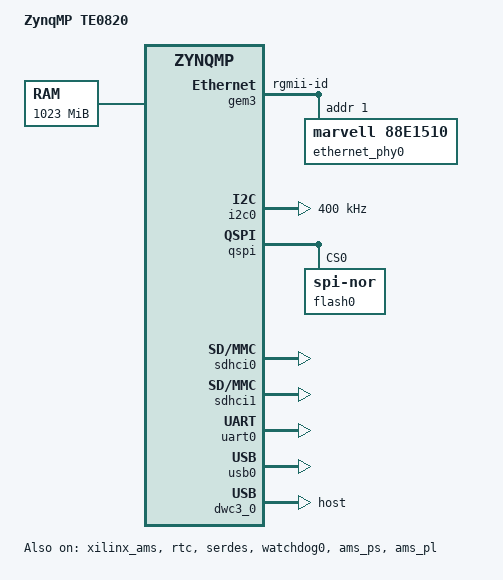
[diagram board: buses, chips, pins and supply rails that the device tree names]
/*
 * dts file for Trenz Electronic ZynqMP TE0820
 *
 */

/dts-v1/;

#include "zynqmp.dtsi"
#include "zynqmp-clk-ccf.dtsi"
#include <dt-bindings/gpio/gpio.h>
#include <dt-bindings/pinctrl/pinctrl-zynqmp.h>
#include <dt-bindings/phy/phy.h>


/ {
	model = "ZynqMP TE0820";
	compatible = "xlnx,zynqmp-te0820", "xlnx,zynqmp";

	aliases {
		ethernet0 = &gem3;
		i2c0 = &i2c0;
		mmc0 = &sdhci1;
		serial0 = &uart0;
		spi0 = &qspi;
		usb0 = &usb0;
	};

	chosen {
		bootargs = "earlycon clk_ignore_unsused";
		stdout-path = "serial0:115200n8";
	};

	memory@0 {
		device_type = "memory";
		reg = <0x0 0x0 0x0 0x3ff00000>;
	};
};

/* # 1 "my_dts/pcw.dtsi" 1 */

&gic {
	num_cpus = <4>;
	num_interrupts = <96>;
};
&lpd_dma_chan1 {
	status = "okay";
};
&lpd_dma_chan2 {
	status = "okay";
};
&lpd_dma_chan3 {
	status = "okay";
};
&lpd_dma_chan4 {
	status = "okay";
};
&lpd_dma_chan5 {
	status = "okay";
};
&lpd_dma_chan6 {
	status = "okay";
};
&lpd_dma_chan7 {
	status = "okay";
};
&lpd_dma_chan8 {
	status = "okay";
};
&xilinx_ams {
	status = "okay";
};
&gem3 {
	phy-mode = "rgmii-id";
	status = "okay";
	xlnx,ptp-enet-clock = <0x0>;
};
&fpd_dma_chan1 {
	status = "okay";
};
&fpd_dma_chan2 {
	status = "okay";
};
&fpd_dma_chan3 {
	status = "okay";
};
&fpd_dma_chan4 {
	status = "okay";
};
&fpd_dma_chan5 {
	status = "okay";
};
&fpd_dma_chan6 {
	status = "okay";
};
&fpd_dma_chan7 {
	status = "okay";
};
&fpd_dma_chan8 {
	status = "okay";
};
&gpio {
	emio-gpio-width = <32>;
	gpio-mask-high = <0x0>;
	gpio-mask-low = <0x5600>;
	status = "okay";
};
&i2c0 {
	clock-frequency = <400000>;
	status = "okay";
};
&pinctrl0 {
	status = "okay";
};
&qspi {
	is-dual = <1>;
	num-cs = <1>;
	spi-rx-bus-width = <4>;
	spi-tx-bus-width = <4>;
	status = "okay";
};
&rtc {
	status = "okay";
};
&sdhci0 {
	clock-frequency = <199999969>;
	status = "okay";
	xlnx,mio_bank = <0x0>;
};
&sdhci1 {
	clock-frequency = <199999969>;
	status = "okay";
	xlnx,mio_bank = <0x1>;
};
&serdes {
	status = "okay";
};
&uart0 {
	device_type = "serial";
	port-number = <0>;
	status = "okay";
	u-boot,dm-pre-reloc ;
};
&usb0 {
	status = "okay";
	xlnx,usb-polarity = <0x0>;
	xlnx,usb-reset-mode = <0x0>;
};
&dwc3_0 {
	status = "okay";
};
&watchdog0 {
	status = "okay";
};
&pss_ref_clk {
	clock-frequency = <33333329>;
};
&ams_ps {
	status = "okay";
};
&ams_pl {
	status = "okay";
};

/* SDIO */
&sdhci1 {
disable-wp;
no-1-8-v;
};

/* ETH PHY */
&gem3 {
status = "okay";
ethernet_phy0: ethernet-phy@0 {
compatible = "marvell,88e1510";
device_type = "ethernet-phy";
reg = <1>;
};
};

/* USB 2.0 */
&dwc3_0 {
status = "okay";
dr_mode = "host";
maximum-speed = "high-speed";
/delete-property/phy-names;
/delete-property/phys;
/delete-property/snps,usb3_lpm_capable;
};

/* QSPI PHY */
&qspi {
#address-cells = <1>;
#size-cells = <0>;
status = "okay";
flash0: flash@0 {
compatible = "jedec,spi-nor";
reg = <0x0>;
#address-cells = <1>;
#size-cells = <1>;
};
};

/* DMA not used: Reduce error messages on linux.*/
&lpd_dma_chan1 {
status = "disabled";
};
&lpd_dma_chan2 {
status = "disabled";
};
&lpd_dma_chan3 {
status = "disabled";
};
&lpd_dma_chan4 {
status = "disabled";
};
&lpd_dma_chan5 {
status = "disabled";
};
&lpd_dma_chan6 {
status = "disabled";
};
&lpd_dma_chan7 {
status = "disabled";
};
&lpd_dma_chan8 {
status = "disabled";
};

